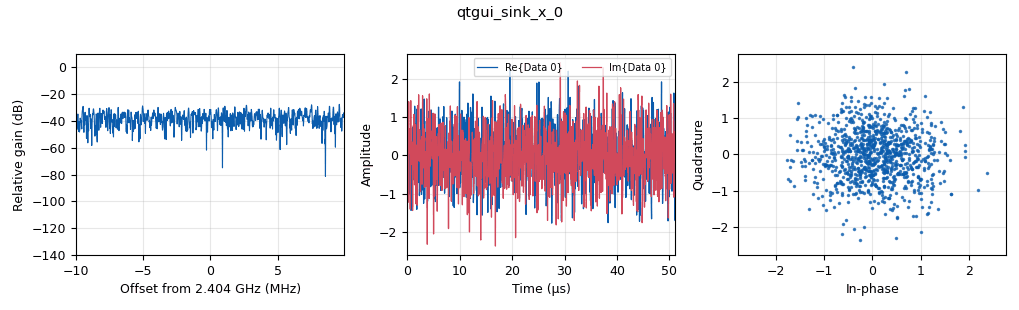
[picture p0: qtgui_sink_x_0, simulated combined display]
options:
  parameters:
    author: poneymagic
    generate_options: qt_gui
    id: wifi_jammer
    output_language: python
    title: Not titled yet
  states: {}

blocks:
- name: channel_wifi
  id: variable_qtgui_range
  parameters:
    start: '2412000000'
    step: '22000000'
    stop: '2462000000'
    value: '2412000000'
  states: {}
- name: freq
  id: variable
  parameters:
    value: '2404000000'
  states: {}
- name: samp_rate
  id: variable
  parameters:
    value: '20000000'
  states: {}
- name: analog_noise_source_x_0
  id: analog_noise_source_x
  parameters:
    amp: '1'
    noise_type: analog.GR_GAUSSIAN
    seed: '0'
    type: complex
  states: {}
- name: osmosdr_sink_0
  id: osmosdr_sink
  parameters:
    bb_gain0: '40'
    bw0: '20000000'
    freq0: freq
    gain0: '10'
    if_gain0: '40'
    sample_rate: samp_rate
    sync: pc_clock
    type: fc32
  states: {}
- name: qtgui_sink_x_0
  id: qtgui_sink_x
  parameters:
    bw: samp_rate
    fc: freq
    fftsize: '1024'
    showrf: 'True'
    type: complex
  states: {}

connections:
- [analog_noise_source_x_0, '0', osmosdr_sink_0, '0']
- [analog_noise_source_x_0, '0', qtgui_sink_x_0, '0']

metadata:
  file_format: 1
  grc_version: 3.10.5.1
